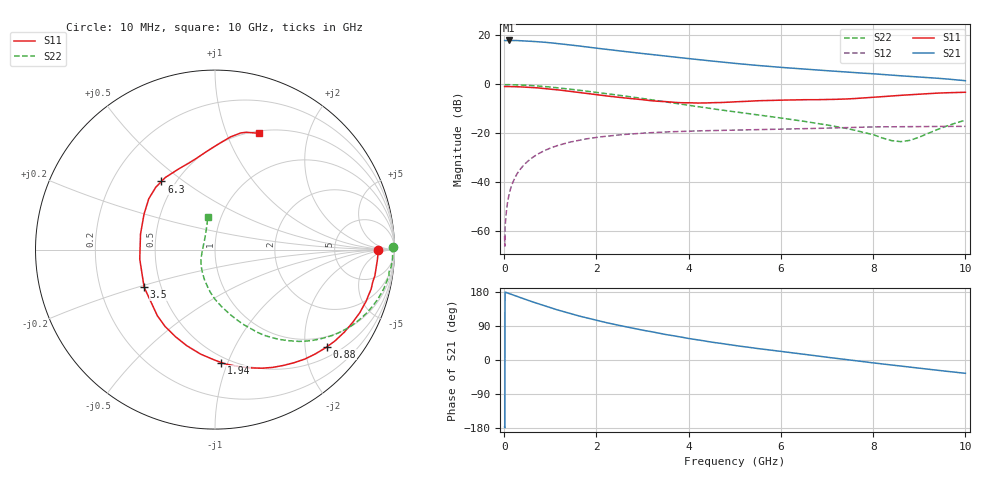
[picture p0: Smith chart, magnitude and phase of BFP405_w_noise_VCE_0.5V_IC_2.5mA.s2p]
! Infineon Technologies  Discrete & RF Semiconductors
! BFP405
! VCE =  0.5 V,  IC =  2.5 mA
! Common Emitter S-Parameters:  Jan 2016
# GHz  S  MA  R  50
!  f  S11  S21  S12  S22
! GHz  MAG  ANG  MAG  ANG  MAG  ANG  MAG  ANG
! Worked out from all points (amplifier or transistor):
!   233 points, 10 MHz to 10 GHz, reference 50 ohm
!   highest |S21| = 18.0 dB at 100 MHz (marker M1)
!   |S21| within 3 dB of that: start of sweep to 1.944 GHz
!   unconditionally stable (mu >= 1): 3.989 GHz to end of sweep
!   at 200 MHz: K = 0.05, MSG = 28.7 dB, |S12| = -39.5 dB
!   at 1.74 GHz: K = 0.41, MSG = 18.9 dB, |S12| = -22.4 dB
!   at 10 GHz: K = 1.67, MAG = 4.5 dB, |S12| = -17.1 dB
!   lowest NFmin = 0.94 dB at 900 MHz
!   S11 on the Smith chart (normalised r, x): 10 MHz: 20, -0; 880 MHz: 0.73, -2.50; 1.94 GHz: 0.45, -0.95; 3.5 GHz: 0.40, -0.21; 6.3 GHz: 0.42, +0.41; 10 GHz: 0.53, +1.31
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0.01  0.9068 -0.1  7.89 -177.1  0.0008 -26.5  0.9939 0.8
0.015  0.9083 -0.4  7.861 -178.9  0.0005 60.1  0.9905 0.4
0.02  0.9098 -0.7  7.84 179.2  0.0012 101.8  0.9872 -0.1
0.055  0.9074 -2.9  7.852 178.0  0.0029 85.5  0.9902 -1.3
0.1  0.9053 -4.7  7.904 175.5  0.0053 87.1  0.9904 -2.8
0.26  0.8971 -12.0  7.89 168.8  0.0139 83.0  0.9775 -7.5
0.5  0.8804 -23.4  7.716 158.5  0.0264 76.7  0.9606 -14.1
0.88  0.8264 -40.8  7.258 142.7  0.0448 66.7  0.9057 -24.3
1.1  0.7888 -50.7  6.943 134.3  0.0544 61.1  0.866 -29.8
1.28  0.7532 -58.5  6.641 127.7  0.0612 56.9  0.831 -33.8
1.68  0.6768 -75.8  6.003 114.4  0.0745 48.4  0.7511 -42.1
1.94  0.6301 -86.8  5.601 106.5  0.0815 43.5  0.7013 -46.8
2.2  0.5879 -97.8  5.232 99.0  0.0876 39.1  0.6531 -51.0
2.62  0.5302 -115.2  4.695 88.0  0.0956 32.6  0.5798 -57.5
3.4  0.4502 -147.6  3.882 69.8  0.1061 22.2  0.4553 -68.2
3.5  0.4469 -152.1  3.799 67.3  0.1074 21.0  0.4405 -69.8
4.1  0.4192 -176.6  3.295 55.0  0.1121 14.7  0.3631 -77.7
5.1  0.4453 151.2  2.64 36.7  0.1173 6.3  0.2679 -91.4
6.3  0.483 128.2  2.129 18.2  0.1234 -1.0  0.1884 -106.3
6.8  0.4888 118.6  1.968 10.5  0.1269 -3.9  0.1596 -114.1
8.4  0.5819 89.1  1.547 -13.2  0.1369 -15.2  0.0713 -173.3
10  0.6927 69.2  1.192 -35.1  0.1395 -24.4  0.1864 102.5
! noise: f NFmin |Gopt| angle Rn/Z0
0.9  0.94  0.53  14  0.37
1.8  1.25  0.42  26  0.35
2.4  1.45  0.36  35  0.34
3  1.48  0.34  51  0.32
4  1.69  0.22  76  0.25
5  2.05  0.17  117  0.21
